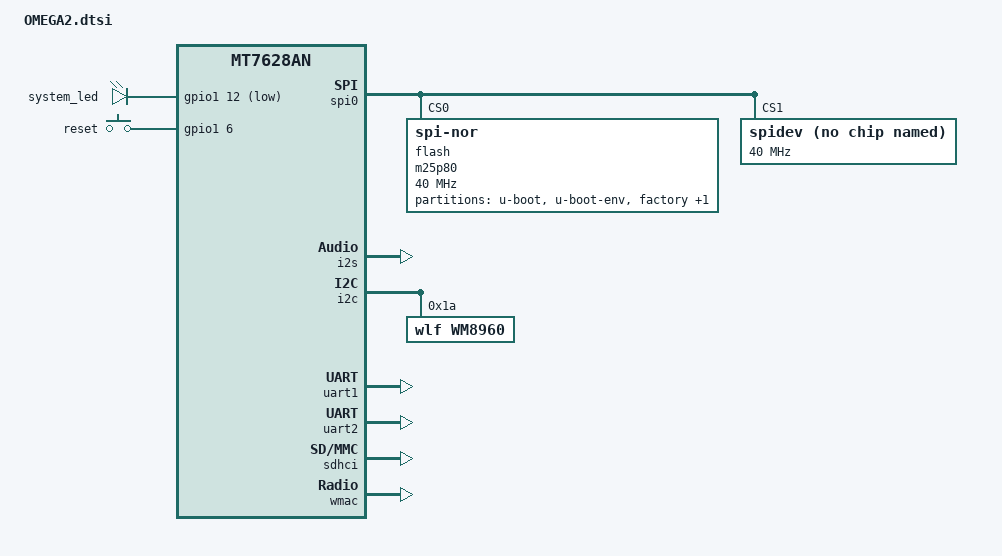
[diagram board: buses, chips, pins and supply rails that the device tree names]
#include "mt7628an.dtsi"

#include <dt-bindings/gpio/gpio.h>
#include <dt-bindings/input/input.h>

/ {
	compatible = "onion,omega2", "mediatek,mt7628an-soc";

	chosen {
		bootargs = "console=ttyS0,115200";
	};

	gpio-leds {
		compatible = "gpio-leds";

		system_led: system {
			gpios = <&gpio1 12 GPIO_ACTIVE_LOW>;
		};
	};

	gpio-keys-polled {
		compatible = "gpio-keys-polled";
		#address-cells = <1>;
		#size-cells = <0>;
		poll-interval = <20>;

		reset {
			label = "reset";
			gpios = <&gpio1 6 GPIO_ACTIVE_HIGH>;
			linux,code = <KEY_RESTART>;
		};
	};
	
	
	sound {
                compatible = "simple-audio-card";
                simple-audio-card,format = "left_j";
                simple-audio-card,name = "wm8960-soundcard"; 
				simple-audio-card,bitclock-master = <&dailink0_master>;
				simple-audio-card,frame-master = <&dailink0_master>;
				
                status = "okay";	
                simple-audio-card,widgets =
                        "Microphone", "Mic Jack",
                        "Line", "Line In",
                        "Line", "Line Out",
                        "Speaker", "Speaker",
                        "Headphone", "Headphone Jack";
                simple-audio-card,routing =
                        "Headphone Jack", "HP_L",
                        "Headphone Jack", "HP_R",
                        "Speaker", "SPK_LP",
                        "Speaker", "SPK_LN",
                        "LINPUT1", "Mic Jack",
                        "LINPUT3", "Mic Jack",
                        "RINPUT1", "Mic Jack",
                        "RINPUT2", "Mic Jack";

		simple-audio-card,cpu {
			sound-dai = <&i2s>;
		};

		dailink0_master: simple-audio-card,codec {
			sound-dai = <&wm8960>;		
		};
    };	
};

&pinctrl {
	state_default: pinctrl0 {
		gpio {
			ralink,group = "gpio";
			ralink,function = "gpio";
		};

		perst {
			ralink,group = "perst";
			ralink,function = "gpio";
		};

		refclk {
			ralink,group = "refclk";
			ralink,function = "gpio";
		};

		i2s {
			ralink,group = "i2s";
			ralink,function = "i2s";
		};

		spis {
			ralink,group = "spis";
			ralink,function = "spis";
		};

		wled_kn {
			ralink,group = "wled_kn";
			ralink,function = "gpio";
		};

		wled_an {
			ralink,group = "wled_an";
			ralink,function = "gpio";
		};

		wdt {
			ralink,group = "wdt";
			ralink,function = "gpio";
		};

		pwm0 {
			ralink,group = "pwm0";
			ralink,function = "gpio";
		};

		pwm1 {
			ralink,group = "pwm1";
			ralink,function = "gpio";
		};
	};
};

&gpio1 {
	status = "okay";
};

&gpio2 {
	status = "okay";
};

&spi0 {
	status = "okay";

	pinctrl-names = "default";
	pinctrl-0 = <&spi_pins>, <&spi_cs1_pins>;

	flash: m25p80@0 {
		#address-cells = <1>;
		#size-cells = <1>;
		compatible = "jedec,spi-nor";
		reg = <0>;
		spi-max-frequency = <40000000>;
		m25p,chunked-io = <31>;

		partition@0 {
			label = "u-boot";
			reg = <0x0 0x30000>;
			read-only;
		};

		partition@30000 {
			label = "u-boot-env";
			reg = <0x30000 0x10000>;
			read-only;
		};

		factory: partition@40000 {
			label = "factory";
			reg = <0x40000 0x10000>;
		};

		firmware: partition@50000 {
			label = "firmware";
		};
	};

	spidev@1 {
		#address-cells = <1>;
		#size-cells = <1>;
		compatible = "rohm,dh2228fv";
		reg = <1>;
		spi-max-frequency = <40000000>;
	};
};


&i2s {
	status = "okay";
	#sound-dai-cells = <0>;
};


&i2c {
	status = "okay";

	wm8960: wm8960  {
		#sound-dai-cells = <0>;
		compatible = "wlf,wm8960";
		reg = <0x1a>;
		wlf,shared-lrclk;
	};		
};

&uart1 {
	status = "okay";
};

&uart2 {
	status = "okay";
};

&ethernet {
	mtd-mac-address = <&factory 0x28>;
};

&sdhci {
	status = "okay";
	mediatek,cd-low;
};

&wmac {
	status = "okay";
};


&gdma {
	status = "okay";
};







